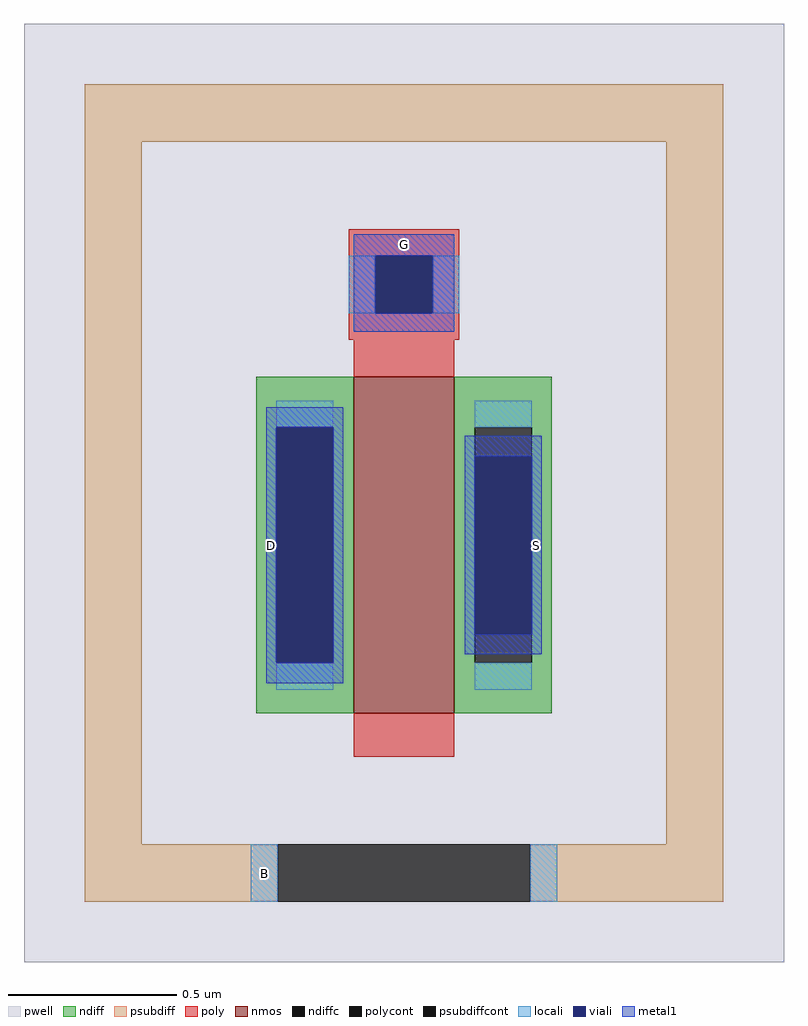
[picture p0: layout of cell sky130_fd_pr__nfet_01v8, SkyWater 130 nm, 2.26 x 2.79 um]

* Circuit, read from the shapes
.subckt sky130_fd_pr__nfet_01v8 D S G B
XM1 S G D B sky130_fd_pr__nfet_01v8 w=1 l=0.3
.ends

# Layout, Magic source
magic
tech sky130B
magscale 1 2
<< pwell >>
rect -226 -279 226 279
<< nmos >>
rect -30 -131 30 69
<< ndiff >>
rect -88 39 -30 69
rect -88 -101 -76 39
rect -42 -101 -30 39
rect -88 -131 -30 -101
rect 30 39 88 69
rect 30 -101 42 39
rect 76 -101 88 39
rect 30 -131 88 -101
<< ndiffc >>
rect -76 -101 -42 39
rect 42 -101 76 39
<< psubdiff >>
rect -190 209 190 243
rect -190 -209 -156 209
rect 156 -209 190 209
rect -190 -243 -75 -209
rect 75 -243 190 -209
<< psubdiffcont >>
rect -75 -243 75 -209
<< poly >>
rect -33 141 33 157
rect -33 107 -17 141
rect 17 107 33 141
rect -33 91 33 107
rect -30 69 30 91
rect -30 -157 30 -131
<< polycont >>
rect -17 107 17 141
<< locali >>
rect -33 107 -17 141
rect 17 107 33 141
rect -76 39 -42 55
rect -76 -117 -42 -101
rect 42 39 76 55
rect 42 -117 76 -101
rect -91 -243 -75 -209
rect 75 -243 91 -209
<< viali >>
rect -17 107 17 141
rect -76 -101 -42 39
rect 42 -84 76 22
<< metal1 >>
rect -30 141 30 154
rect -30 107 -17 141
rect 17 107 30 141
rect -30 96 30 107
rect -82 39 -36 51
rect -82 -101 -76 39
rect -42 -101 -36 39
rect 36 22 82 34
rect 36 -84 42 22
rect 76 -84 82 22
rect 36 -96 82 -84
rect -82 -113 -36 -101
<< labels >>
flabel metal1 -82 -113 -76 51 0 FreeSans 480 0 0 0 D
port 0 nsew
flabel metal1 76 -96 82 34 0 FreeSans 480 0 0 0 S
port 1 nsew
flabel metal1 -30 141 30 154 0 FreeSans 480 0 0 0 G
port 2 nsew
flabel locali -91 -243 -75 -209 0 FreeSans 480 0 0 0 B
port 3 nsew
<< end >>
